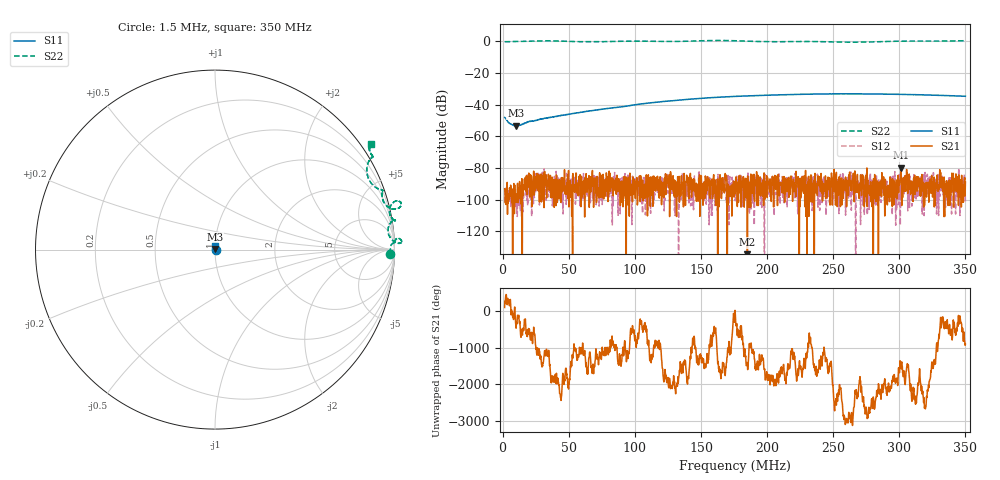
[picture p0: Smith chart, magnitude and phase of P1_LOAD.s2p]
# Hz S RI R 50
! RAW DATA - UNCALIBRATED
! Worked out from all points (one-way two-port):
!   1601 points, 1.5 MHz to 350 MHz, reference 50 ohm
!   highest |S21| = -79.77 dB at 301.2 MHz (marker M1); lowest = -186.2 dB at 185.1 MHz (marker M2)
!   lowest |S11| = -53.3 dB at 9.995 MHz (marker M3), VSWR 1.00, Z = 49.8 + j0.142 ohm
!   |S11| at or under -10 dB: start of sweep to end of sweep
!   |S22| runs from -0.5 to 0.6 dB; largest |S21 - S12| = 0.00013
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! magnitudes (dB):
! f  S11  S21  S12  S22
! 1.5 MHz  -48.1  -93.2  -102.0  -0.2
! 5.856 MHz  -52.1  -97.9  -99.6  -0.2
! 7.817 MHz  -52.9  -99.9  -103.6  -0.1
! 9.995 MHz  -53.3  -99.8  -101.6  0.0
! 13.04 MHz  -53.0  -90.9  -94.6  0.0
! 20.23 MHz  -50.7  -87.5  -95.1  0.1
! 24.59 MHz  -50.1  -92.9  -85.4  0.2
! 30.69 MHz  -48.9  -99.8  -94.6  0.4
! 59.66 MHz  -44.8  -85.4  -96.7  -0.2
! 102.6 MHz  -39.8  -89.0  -97.9  0.2
! 117.8 MHz  -38.3  -87.3  -87.7  0.0
! 131.3 MHz  -37.3  -94.5  -89.8  0.0
! 145.5 MHz  -36.3  -95.0  -91.6  0.2
! 161.6 MHz  -35.4  -92.2  -87.5  0.6
! 175.8 MHz  -34.8  -96.4  -90.5  0.4
! 185.1 MHz  -34.4  -186.2  -91.7  0.1
! 203 MHz  -33.9  -98.4  -100.4  -0.2
! 233.9 MHz  -33.3  -101.5  -98.7  -0.1
! 265.3 MHz  -33.2  -83.4  -86.6  -0.5
! 292.1 MHz  -33.4  -94.3  -90.9  0.0
! 301.2 MHz  -33.5  -79.8  -100.0  0.1
! 350 MHz  -34.7  -88.9  -102.0  0.4
